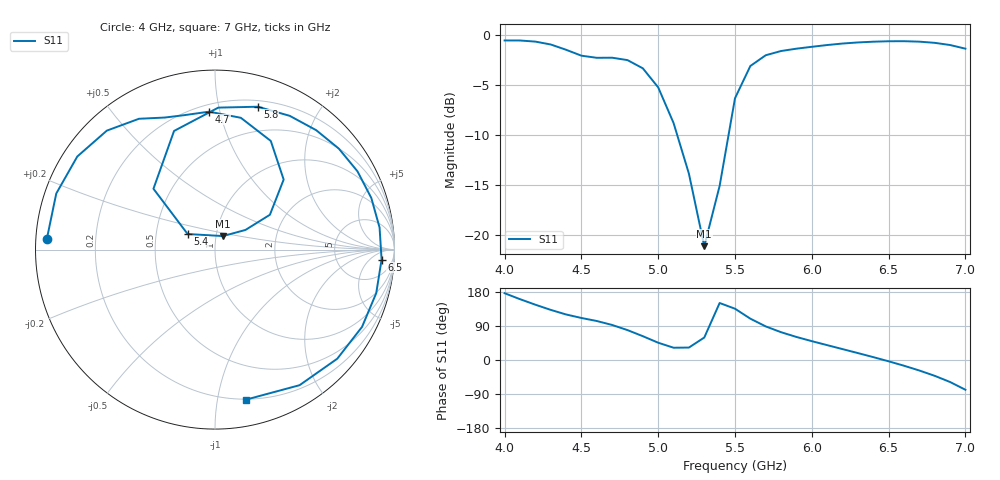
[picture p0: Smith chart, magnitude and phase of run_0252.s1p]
! Touchstone file exported from HFSS 2024.2.0
!  File:  C:/Users/wsak9/Desktop/Sim Fast/Widenad Patch/WP_AI_V1_sweep.aedt
!  Generated:  01:37:08 AM Oct 14, 2026
!  Design:  A1_model
!  Project:  WP_AI_V1_sweep
!  Setup:  Setup1
!  Solution:  Sweep
! Variables:
!  Air_gap = 2.64mm
!  Curve_Amp1 = 3.87
!  Curve_len1 = 1
!  Curve_pos = 11.95mm
!  Extra = 4.78mm
!  H_sub = 0.79mm
!  L_Patch = 19.9mm
!  L_Patch1 = 19.89mm
!  Sx = 4.57mm
!  Sy = 4.26mm
!  WS = 0.28mm
!  W_Patch = 19.55mm
!  W_Patch1 = 15.11mm
!Data is not renormalized
# GHz S MA
! Terminal data exported
! Port[1] = 1
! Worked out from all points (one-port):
!   31 points, 4 GHz to 7 GHz, reference per port
!   lowest |S11| = -21.1 dB at 5.3 GHz (marker M1), VSWR 1.19
!   |S11| at or under -10 dB: 5.123 GHz to 5.458 GHz (334.9 MHz wide, 6.33 % of centre)
!   S11 on the Smith chart (normalised r, x): 4 GHz: 0.03, +0.03; 4.7 GHz: 0.25, +0.93; 5.4 GHz: 0.73, +0.13; 5.8 GHz: 0.26, +1.31; 6.5 GHz: 16, -13; 7 GHz: 0.20, -1.21
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4  0.9384 176.2
4.1  0.938 160.5
4.2  0.9261 145.9
4.3  0.8959 132.3
4.4  0.8431 120.2
4.5  0.7874 110.9
4.7  0.7691 92.5
4.8  0.7483 78.9
4.9  0.6804 62.8
5  0.5464 45.6
5.1  0.3624 32.4
5.2  0.202 32.8
5.3  0.08763 59.3
5.4  0.1756 150.4
5.5  0.4822 135.3
5.6  0.6993 109.0
5.7  0.7913 88.7
5.8  0.8309 73.3
5.9  0.8537 60.8
6.1  0.8902 39.2
6.3  0.9171 18.3
6.4  0.9251 7.6
6.5  0.9298 -3.4
6.6  0.9305 -15.1
6.7  0.9255 -27.7
6.8  0.9131 -41.7
6.9  0.8904 -58.0
7  0.8537 -78.5
